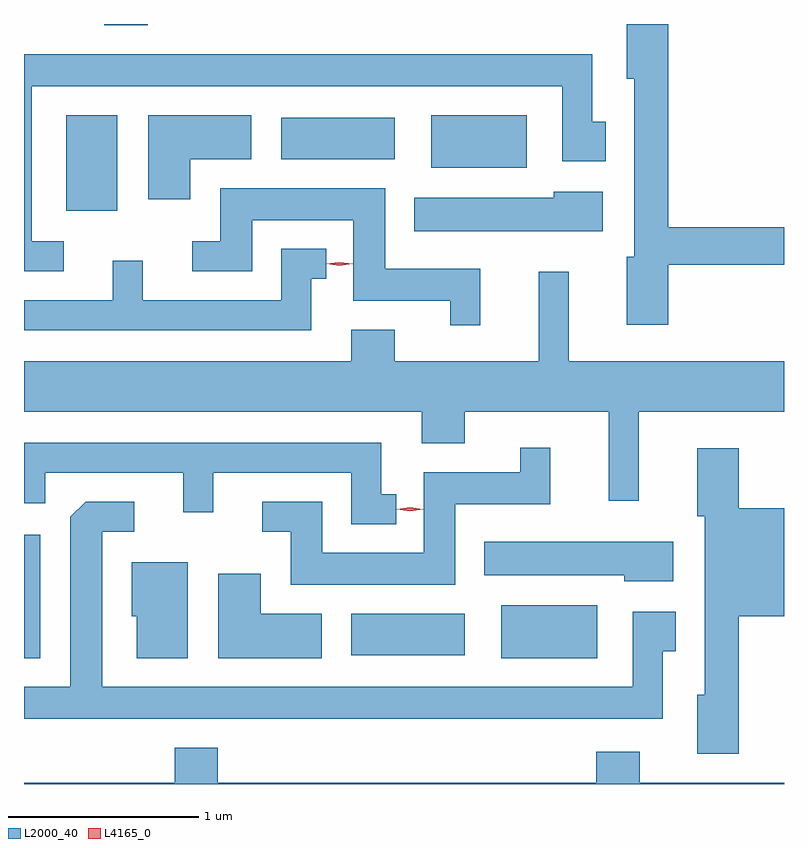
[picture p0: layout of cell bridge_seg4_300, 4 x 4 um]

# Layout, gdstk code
import gdstk
lib = gdstk.Library(unit=1e-6, precision=1e-09)
def R(c, l, rs):  # rectangles x0, y0, x1, y1
    for r in rs: c.add(gdstk.rectangle(r[:2], r[2:], *l))
def P(c, l, *ps):  # polygons
    for p in ps: c.add(gdstk.Polygon(p, *l))
L2000_40 = (2000, 40)
L4165_0 = (4165, 0)

bridge_seg4_300 = lib.new_cell('bridge_seg4_300')
R(bridge_seg4_300, L2000_40, [(529.938,1260.141,530.024,1260.789), (532.451,1260.141,532.954,1260.419), (531.661,1260.156,532.259,1260.374), (530.161,1262.496,530.429,1262.999), (532.081,1262.721,532.584,1262.999), (531.291,1262.766,531.889,1262.984), (530.361,1263.471,530.589,1263.478)])
P(bridge_seg4_300, L2000_40, [(533.329,1262.211),(533.938,1262.211),(533.938,1262.409),(533.329,1262.409),(533.329,1263.478),(533.111,1263.478),(533.111,1263.191),(533.151,1263.191),(533.151,1262.254),(533.111,1262.254),(533.111,1261.896),(533.329,1261.896)],
  [(530.148,1262.334),(529.979,1262.334),(529.979,1263.151),(532.771,1263.151),(532.771,1262.756),(532.999,1262.756),(532.999,1262.964),(532.929,1262.964),(532.929,1263.319),(529.938,1263.319),(529.938,1262.176),(530.148,1262.176)],
  [(530.814,1262.766),(531.134,1262.766),(531.134,1262.999),(530.591,1262.999),(530.591,1262.556),(530.814,1262.556)],
  [(532.339,1262.189),(531.839,1262.189),(531.839,1262.614),(530.971,1262.614),(530.971,1262.334),(530.823,1262.334),(530.823,1262.176),(531.139,1262.176),(531.139,1262.446),(531.671,1262.446),(531.671,1262.021),(532.181,1262.021),(532.181,1261.893),(532.339,1261.893)],
  [(532.984,1262.594),(532.726,1262.594),(532.726,1262.564),(531.991,1262.564),(531.991,1262.386),(532.984,1262.386)],
  [(531.449,1262.136),(531.528,1262.136),(531.528,1262.294),(531.291,1262.294),(531.291,1262.024),(530.564,1262.024),(530.564,1262.233),(530.406,1262.233),(530.406,1262.024),(529.938,1262.024),(529.938,1261.866),(531.449,1261.866)],
  [(533.174,1261.436),(533.938,1261.436),(533.938,1261.704),(532.804,1261.704),(532.804,1262.173),(532.646,1262.173),(532.646,1261.704),(531.889,1261.704),(531.889,1261.869),(531.661,1261.869),(531.661,1261.704),(529.938,1261.704),(529.938,1261.436),(532.031,1261.436),(532.031,1261.271),(532.259,1261.271),(532.259,1261.436),(533.016,1261.436),(533.016,1260.968),(533.174,1260.968)],
  [(531.898,1261.004),(531.819,1261.004),(531.819,1261.274),(529.938,1261.274),(529.938,1260.956),(530.049,1260.956),(530.049,1261.116),(530.776,1261.116),(530.776,1260.908),(530.934,1260.908),(530.934,1261.116),(531.661,1261.116),(531.661,1260.846),(531.898,1260.846)],
  [(532.209,1260.951),(532.709,1260.951),(532.709,1261.248),(532.551,1261.248),(532.551,1261.119),(532.041,1261.119),(532.041,1260.694),(531.509,1260.694),(531.509,1260.964),(531.193,1260.964),(531.193,1260.806),(531.341,1260.806),(531.341,1260.526),(532.209,1260.526)],
  [(533.699,1260.361),(533.938,1260.361),(533.938,1260.929),(533.699,1260.929),(533.699,1261.244),(533.481,1261.244),(533.481,1260.886),(533.521,1260.886),(533.521,1259.949),(533.481,1259.949),(533.481,1259.636),(533.699,1259.636)],
  [(533.299,1260.176),(533.369,1260.176),(533.369,1260.384),(533.141,1260.384),(533.141,1259.989),(530.349,1259.989),(530.349,1260.806),(530.518,1260.806),(530.518,1260.964),(530.262,1260.964),(530.181,1260.884),(530.181,1259.989),(529.938,1259.989),(529.938,1259.821),(533.299,1259.821)],
  [(533.354,1260.754),(532.361,1260.754),(532.361,1260.576),(533.096,1260.576),(533.096,1260.546),(533.354,1260.546)],
  [(530.799,1260.644),(530.506,1260.644),(530.506,1260.361),(530.531,1260.361),(530.531,1260.141),(530.799,1260.141)],
  [(531.504,1260.374),(531.184,1260.374),(531.184,1260.584),(530.961,1260.584),(530.961,1260.141),(531.504,1260.141)],
  [(530.959,1259.669),(530.731,1259.669),(530.731,1259.484),(529.938,1259.484),(529.938,1259.478),(533.938,1259.478),(533.938,1259.484),(533.179,1259.484),(533.179,1259.649),(532.951,1259.649),(532.951,1259.484),(530.959,1259.484)])
P(bridge_seg4_300, L4165_0, [(531.598,1262.206),(531.529,1262.215),(531.529,1262.215),(531.529,1262.216),(531.598,1262.225),(531.668,1262.216),(531.668,1262.216),(531.668,1262.215)],
  [(531.968,1260.914),(531.899,1260.924),(531.899,1260.924),(531.899,1260.924),(531.968,1260.934),(532.038,1260.924),(532.038,1260.923),(532.038,1260.923)])

lib.write_gds('bridge_seg4_300.gds')
